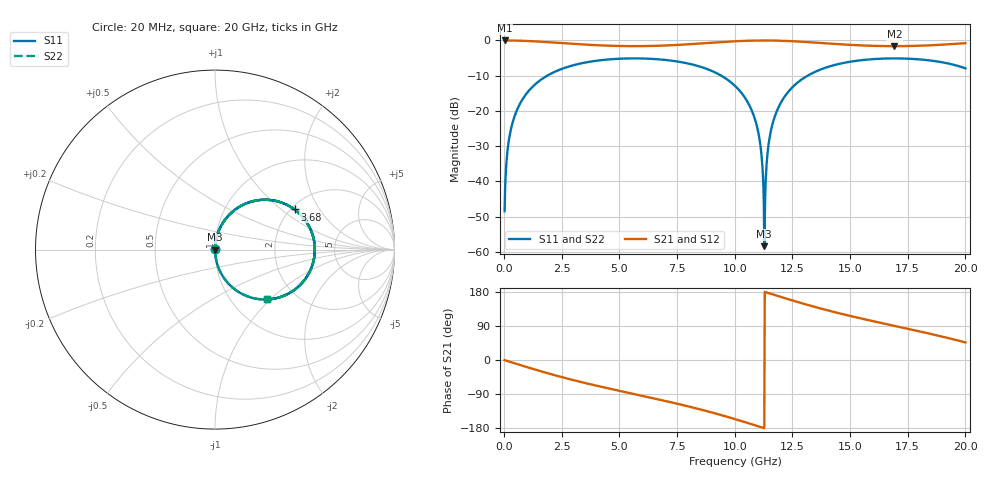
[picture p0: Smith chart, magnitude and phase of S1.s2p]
! Touchstone file exported from Circuit Design 2026.1.0
!  File:  local/demo-project/Project1.aedt
!  Generated:  01:57:31 PM Apr 21, 2026
!  Design:  Circuit1
!  Project:  Project1
!  Setup:  LinearFrequency
!  Solution:  LinearFrequency
# GHz S MA R 50.000000
! Terminal data exported
! Port[1] = Port1
! Port[2] = Port2
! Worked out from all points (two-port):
!   1000 points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, 20 MHz to 20 GHz, reference 50 ohm
!   highest |S21| = 0.00 dB at 20 MHz (marker M1); lowest = -1.6 dB at 16.92 GHz (marker M2)
!   |S21| within 3 dB of the highest: start of sweep to end of sweep
!   lowest |S11| = -58.4 dB at 11.28 GHz (marker M3), VSWR 1.00, Z = 50 - j0.109 ohm
!   |S11| at or under -10 dB: start of sweep to 1.87 GHz; 9.414 GHz to 13.16 GHz (3.745 GHz wide, 33.2 % of centre)
!   |S22| runs from -58.4 to -5.1 dB; largest |S21 - S12| = 1.7e-14
!   S11 on the Smith chart (normalised r, x): 20 MHz: 1.00, +0.01; 3.68 GHz: 2.09, +1.24; 20 GHz: 1.45, -0.96
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0.02  0.003762 88.1  0.9999 -0.4  0.9999 -0.4  0.003762 88.1
! Gamma 0 0 0 0
! Port Impedance 50 0 50 0
0.16  0.02994 86.6  0.9994 -3.1  0.9994 -3.1  0.02994 86.6
0.26  0.04855 84.7  0.9986 -5.0  0.9986 -5.0  0.04855 84.7
0.76  0.1395 75.3  0.9899 -14.5  0.9899 -14.5  0.1395 75.3
1.76  0.3008 57.2  0.9532 -32.7  0.9532 -32.7  0.3008 57.2
3.36  0.4746 31.4  0.8797 -58.5  0.8797 -58.5  0.4746 31.4
3.68  0.4967 26.8  0.8674 -63.2  0.8674 -63.2  0.4967 26.8
6.68  0.5402 -13.9  0.841 -103.9  0.841 -103.9  0.5402 -13.9
8.52  0.4224 -40.6  0.9058 -130.6  0.9058 -130.6  0.4224 -40.6
10.02  0.2251 -66.0  0.9736 -156.1  0.9736 -156.1  0.2251 -66.0
10.9  0.07157 -82.2  0.9966 -172.6  0.9966 -172.6  0.07157 -82.2
11.08  0.03831 -85.3  0.9984 -176.1  0.9984 -176.1  0.03831 -85.3
11.22  0.01228 -86.5  0.999 -178.7  0.999 -178.7  0.01228 -86.5
11.28  0.0012 -65.5  0.9991 -179.9  0.9991 -179.9  0.0012 -65.5
11.36  0.01382 86.5  0.999 178.6  0.999 178.6  0.01382 86.5
11.44  0.0287 86.0  0.9987 177.0  0.9987 177.0  0.0287 86.0
11.52  0.04355 84.8  0.9981 175.5  0.9981 175.5  0.04355 84.8
11.84  0.1023 79.1  0.9938 169.4  0.9938 169.4  0.1023 79.1
13.34  0.3405 52.2  0.9393 142.3  0.9393 142.3  0.3405 52.2
16.68  0.5552 3.3  0.8308 93.3  0.8308 93.3  0.5552 3.3
16.92  0.5562 0.1  0.8302 90.1  0.8302 90.1  0.5562 0.1
20  0.4022 -43.6  0.9145 46.3  0.9145 46.3  0.4022 -43.6
